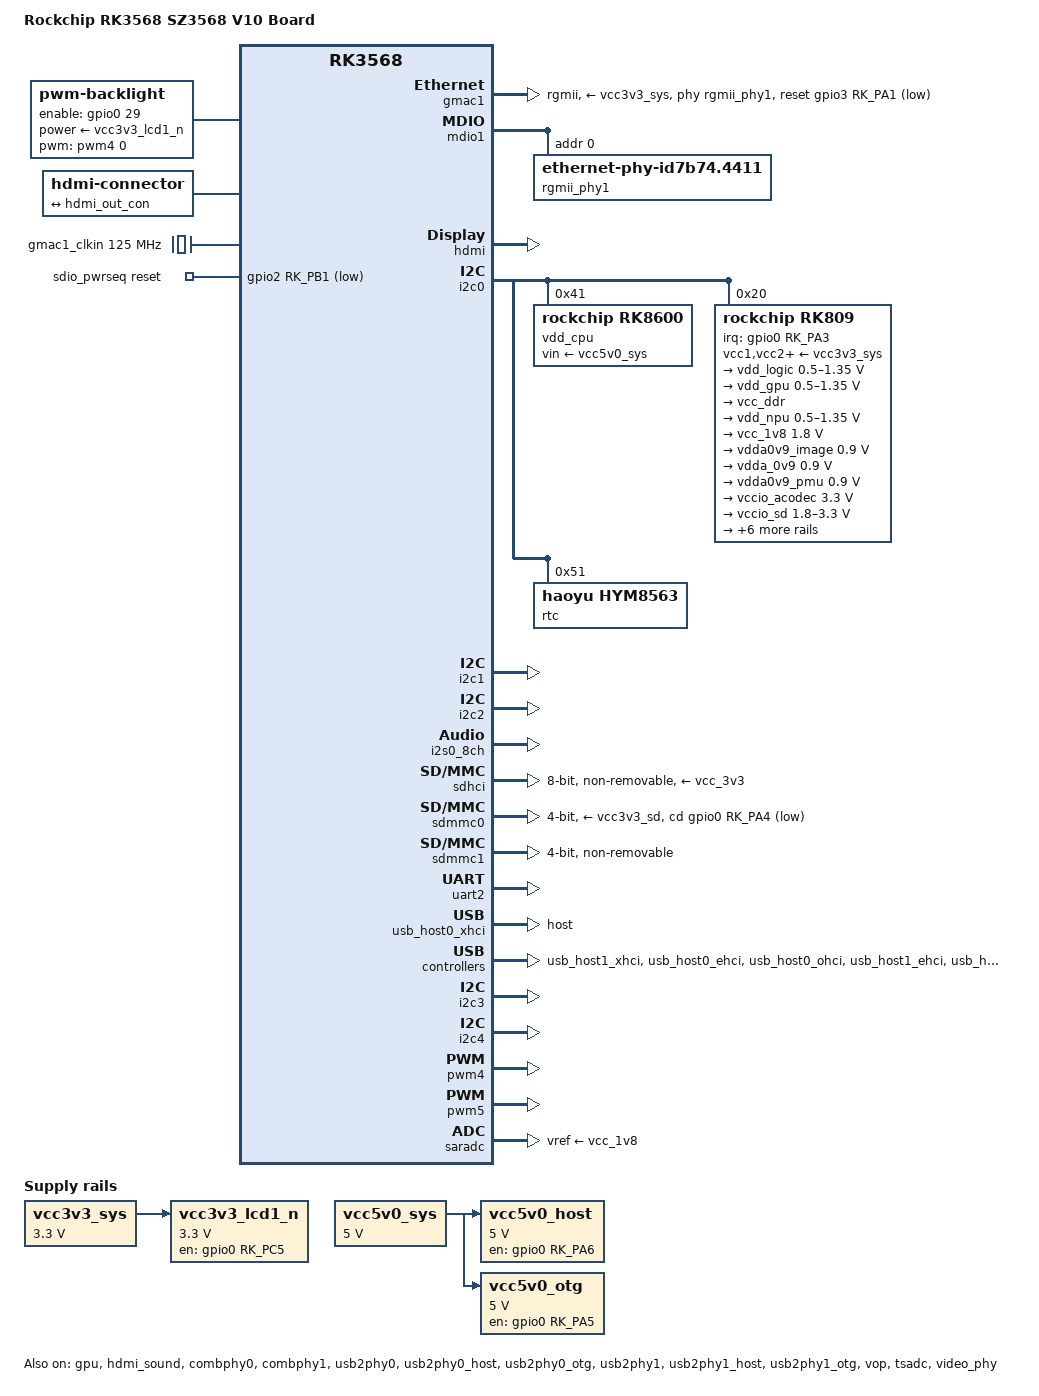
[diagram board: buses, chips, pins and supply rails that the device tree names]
// SPDX-License-Identifier: (GPL-2.0+ OR MIT)
/*
 * SZ3568 V1.2 Board - Clean Mainline DTS
 *
 * Based on mainline rk3568-rock-3a.dts patterns
 * No vendor BSP extensions - pure mainline compatible
 */

/dts-v1/;

#include <dt-bindings/gpio/gpio.h>
#include <dt-bindings/pinctrl/rockchip.h>
#include <dt-bindings/soc/rockchip,vop2.h>
#include "rk3568.dtsi"

/ {
	model = "Rockchip RK3568 SZ3568 V10 Board";
	compatible = "rockchip,rk3568-sz3568", "rockchip,rk3568";

	aliases {
		ethernet0 = &gmac1;
		lvds0 = &lvds;
		mmc0 = &sdhci;
		mmc1 = &sdmmc0;
		mmc2 = &sdmmc1;
		serial2 = &uart2;
	};

	chosen {
		stdout-path = "serial2:1500000n8";
	};

	/* Backlight for LVDS panel via PWM4 */
	backlight: backlight {
		compatible = "pwm-backlight";
		pwms = <&pwm4 0 25000 0>;
		brightness-levels = <0 64 128 192 255>;
		default-brightness-level = <3>;
		enable-gpios = <&gpio0 29 GPIO_ACTIVE_HIGH>;
		power-supply = <&vcc3v3_lcd1_n>;
		status = "okay";
	};

	/* Native LVDS panel - 1024x600 @ 60Hz */
	panel_lvds: panel-lvds {
		compatible = "panel-lvds";
		backlight = <&backlight>;
		power-supply = <&vcc3v3_lcd1_n>;
		data-mapping = "vesa-24";
		width-mm = <217>;
		height-mm = <136>;
		status = "disabled";  /* Disabled until panel available */

		panel-timing {
			clock-frequency = <66000000>;
			hactive = <1024>;
			vactive = <600>;
			hback-porch = <200>;
			hfront-porch = <110>;
			vback-porch = <20>;
			vfront-porch = <13>;
			hsync-len = <10>;
			vsync-len = <2>;
			hsync-active = <0>;
			vsync-active = <0>;
			de-active = <0>;
			pixelclk-active = <0>;
		};

		port {
			panel_in_lvds: endpoint {
				remote-endpoint = <&lvds_out_panel>;
			};
		};
	};

	/* LCD panel power supply - GPIO0_PC5 (gpio0-21) */
	vcc3v3_lcd1_n: vcc3v3-lcd1-n {
		compatible = "regulator-fixed";
		regulator-name = "vcc3v3_lcd1_n";
		regulator-boot-on;
		regulator-min-microvolt = <3300000>;
		regulator-max-microvolt = <3300000>;
		enable-active-high;
		gpio = <&gpio0 RK_PC5 GPIO_ACTIVE_HIGH>;
		vin-supply = <&vcc3v3_sys>;
		pinctrl-names = "default";
		pinctrl-0 = <&lcd1_pwr_en>;
	};

	/* TC358775 bridge 1.2V power - GPIO0_PB0 (gpio0-8) */
	/* Disabled - using native LVDS instead of DSI->bridge */
	vcc1v2_tc358775: vcc-tc358775-regulator {
		compatible = "regulator-fixed";
		regulator-name = "vcc_tc358775";
		enable-active-high;
		gpio = <&gpio0 RK_PB0 GPIO_ACTIVE_HIGH>;
		pinctrl-names = "default";
		pinctrl-0 = <&tc358775_pwr>;
		status = "disabled";
	};

	/*
	 * RK3568 Video PHY for LVDS output
	 * Innosilicon PHY that supports LVDS and TTL modes
	 * Note: Shares PHY hardware with DSI DPHY0
	 */
	video_phy: video-phy@fe850000 {
		compatible = "rockchip,rk3568-video-phy";
		reg = <0x0 0xfe850000 0x0 0x10000>;
		clocks = <&cru PCLK_DSITX_0>;
		clock-names = "pclk";
		resets = <&cru SRST_P_DSITX_0>;
		reset-names = "rst";
		#phy-cells = <0>;
		status = "okay";
	};

	/*
	 * RK3568 Native LVDS controller
	 * Uses Video PHY in LVDS mode, configured via GRF registers
	 * Note: This is not in mainline rk3568.dtsi - added via local patch
	 */
	lvds: lvds {
		compatible = "rockchip,rk3568-lvds";
		rockchip,grf = <&grf>;
		phys = <&video_phy>;
		phy-names = "dphy";
		status = "disabled";  /* Disabled until panel available - causes HDMI probe issues */

		ports {
			#address-cells = <1>;
			#size-cells = <0>;

			/* Input from VOP VP1 */
			port@0 {
				reg = <0>;

				lvds_in_vp1: endpoint {
					remote-endpoint = <&vp1_out_lvds>;
				};
			};

			/* Output to panel */
			port@1 {
				reg = <1>;

				lvds_out_panel: endpoint {
					remote-endpoint = <&panel_in_lvds>;
				};
			};
		};
	};

	/* HDMI connector */
	hdmi-con {
		compatible = "hdmi-connector";
		type = "a";

		port {
			hdmi_con_in: endpoint {
				remote-endpoint = <&hdmi_out_con>;
			};
		};
	};

	/* External 125MHz clock for GMAC1 */
	gmac1_clkin: external-gmac1-clock {
		compatible = "fixed-clock";
		clock-frequency = <125000000>;
		clock-output-names = "gmac1_clkin";
		#clock-cells = <0>;
	};

	/* Main 3.3V supply */
	vcc3v3_sys: vcc3v3-sys-regulator {
		compatible = "regulator-fixed";
		regulator-name = "vcc3v3_sys";
		regulator-always-on;
		regulator-boot-on;
		regulator-min-microvolt = <3300000>;
		regulator-max-microvolt = <3300000>;
	};

	/* 5V supply */
	vcc5v0_sys: vcc5v0-sys-regulator {
		compatible = "regulator-fixed";
		regulator-name = "vcc5v0_sys";
		regulator-always-on;
		regulator-boot-on;
		regulator-min-microvolt = <5000000>;
		regulator-max-microvolt = <5000000>;
	};

	/* USB Host port power - controlled by GPIO0_A6 */
	vcc5v0_host: vcc5v0-host-regulator {
		compatible = "regulator-fixed";
		regulator-name = "vcc5v0_host";
		regulator-boot-on;
		regulator-always-on;
		regulator-min-microvolt = <5000000>;
		regulator-max-microvolt = <5000000>;
		enable-active-high;
		gpio = <&gpio0 RK_PA6 GPIO_ACTIVE_HIGH>;
		vin-supply = <&vcc5v0_sys>;
		pinctrl-names = "default";
		pinctrl-0 = <&vcc5v0_host_en>;
	};

	/* USB OTG port power - controlled by GPIO0_A5 */
	/* Enable always-on so OTG port works as host like vendor kernel */
	vcc5v0_otg: vcc5v0-otg-regulator {
		compatible = "regulator-fixed";
		regulator-name = "vcc5v0_otg";
		regulator-boot-on;
		regulator-always-on;
		regulator-min-microvolt = <5000000>;
		regulator-max-microvolt = <5000000>;
		enable-active-high;
		gpio = <&gpio0 RK_PA5 GPIO_ACTIVE_HIGH>;
		vin-supply = <&vcc5v0_sys>;
		pinctrl-names = "default";
		pinctrl-0 = <&vcc5v0_otg_en>;
	};

	/* WiFi SDIO power sequence - GPIO2_B1 controls chip reset */
	sdio_pwrseq: sdio-pwrseq {
		compatible = "mmc-pwrseq-simple";
		pinctrl-names = "default";
		pinctrl-0 = <&wifi_enable_h>;
		reset-gpios = <&gpio2 RK_PB1 GPIO_ACTIVE_LOW>;
		post-power-on-delay-ms = <200>;
	};

};

/* CPU power supply */
&cpu0 {
	cpu-supply = <&vdd_cpu>;
};

&cpu1 {
	cpu-supply = <&vdd_cpu>;
};

&cpu2 {
	cpu-supply = <&vdd_cpu>;
};

&cpu3 {
	cpu-supply = <&vdd_cpu>;
};

/* GPU - Panfrost driver */
&gpu {
	mali-supply = <&vdd_gpu>;
	status = "okay";
};

/* GMAC1 - Ethernet with MAXIO PHY */
&gmac1 {
	assigned-clocks = <&cru SCLK_GMAC1_RX_TX>, <&cru SCLK_GMAC1>;
	assigned-clock-parents = <&cru SCLK_GMAC1_RGMII_SPEED>, <&gmac1_clkin>;
	clock_in_out = "input";
	phy-handle = <&rgmii_phy1>;
	phy-mode = "rgmii";
	phy-supply = <&vcc3v3_sys>;
	pinctrl-names = "default";
	pinctrl-0 = <&gmac1m0_miim
		     &gmac1m0_tx_bus2
		     &gmac1m0_rx_bus2
		     &gmac1m0_rgmii_clk
		     &gmac1m0_rgmii_bus
		     &gmac1m0_clkinout>;
	snps,reset-gpio = <&gpio3 RK_PA1 GPIO_ACTIVE_LOW>;
	snps,reset-active-low;
	snps,reset-delays-us = <0 20000 100000>;
	tx_delay = <0x4f>;
	rx_delay = <0x10>;
	status = "okay";
};

&mdio1 {
	rgmii_phy1: ethernet-phy@0 {
		compatible = "ethernet-phy-id7b74.4411", "ethernet-phy-ieee802.3-c22";
		reg = <0x0>;
	};
};

/* HDMI */
&hdmi {
	avdd-0v9-supply = <&vdda0v9_image>;
	avdd-1v8-supply = <&vcca1v8_image>;
	pinctrl-names = "default";
	pinctrl-0 = <&hdmitx_scl &hdmitx_sda &hdmitxm1_cec>;
	/* DDC I2C timing for ~50kHz bus speed (matches Rockchip BSP defaults) */
	ddc-i2c-scl-high-time-ns = <9625>;
	ddc-i2c-scl-low-time-ns = <10000>;
	status = "okay";
};

&hdmi_in {
	hdmi_in_vp0: endpoint {
		remote-endpoint = <&vp0_out_hdmi>;
	};
};

&hdmi_out {
	hdmi_out_con: endpoint {
		remote-endpoint = <&hdmi_con_in>;
	};
};

&hdmi_sound {
	status = "okay";
};

/* I2C0 - PMIC */
&i2c0 {
	status = "okay";

	/* CPU voltage regulator - RK8600 at I2C address 0x41 */
	vdd_cpu: regulator@41 {
		compatible = "rockchip,rk8600";
		reg = <0x41>;
		regulator-name = "vdd_cpu";
		regulator-always-on;
		regulator-boot-on;
		regulator-min-microvolt = <712500>;
		regulator-max-microvolt = <1390000>;
		regulator-ramp-delay = <2300>;
		vin-supply = <&vcc5v0_sys>;
		rockchip,suspend-voltage-selector = <1>;

		regulator-state-mem {
			regulator-off-in-suspend;
		};
	};

	rk809: pmic@20 {
		compatible = "rockchip,rk809";
		reg = <0x20>;
		interrupt-parent = <&gpio0>;
		interrupts = <RK_PA3 IRQ_TYPE_LEVEL_LOW>;
		#clock-cells = <1>;
		pinctrl-names = "default";
		pinctrl-0 = <&pmic_int>;
		rockchip,system-power-controller;
		wakeup-source;

		vcc1-supply = <&vcc3v3_sys>;
		vcc2-supply = <&vcc3v3_sys>;
		vcc3-supply = <&vcc3v3_sys>;
		vcc4-supply = <&vcc3v3_sys>;
		vcc5-supply = <&vcc3v3_sys>;
		vcc6-supply = <&vcc3v3_sys>;
		vcc7-supply = <&vcc3v3_sys>;
		vcc8-supply = <&vcc3v3_sys>;
		vcc9-supply = <&vcc3v3_sys>;

		regulators {
			vdd_logic: DCDC_REG1 {
				regulator-name = "vdd_logic";
				regulator-always-on;
				regulator-boot-on;
				regulator-init-microvolt = <900000>;
				regulator-min-microvolt = <500000>;
				regulator-max-microvolt = <1350000>;
				regulator-ramp-delay = <6001>;

				regulator-state-mem {
					regulator-off-in-suspend;
				};
			};

			vdd_gpu: DCDC_REG2 {
				regulator-name = "vdd_gpu";
				regulator-always-on;
				regulator-init-microvolt = <900000>;
				regulator-min-microvolt = <500000>;
				regulator-max-microvolt = <1350000>;
				regulator-ramp-delay = <6001>;

				regulator-state-mem {
					regulator-off-in-suspend;
				};
			};

			vcc_ddr: DCDC_REG3 {
				regulator-name = "vcc_ddr";
				regulator-always-on;
				regulator-boot-on;

				regulator-state-mem {
					regulator-on-in-suspend;
				};
			};

			vdd_npu: DCDC_REG4 {
				regulator-name = "vdd_npu";
				regulator-init-microvolt = <900000>;
				regulator-min-microvolt = <500000>;
				regulator-max-microvolt = <1350000>;
				regulator-ramp-delay = <6001>;

				regulator-state-mem {
					regulator-off-in-suspend;
				};
			};

			vcc_1v8: DCDC_REG5 {
				regulator-name = "vcc_1v8";
				regulator-always-on;
				regulator-boot-on;
				regulator-min-microvolt = <1800000>;
				regulator-max-microvolt = <1800000>;

				regulator-state-mem {
					regulator-off-in-suspend;
				};
			};

			vdda0v9_image: LDO_REG1 {
				regulator-name = "vdda0v9_image";
				regulator-min-microvolt = <900000>;
				regulator-max-microvolt = <900000>;

				regulator-state-mem {
					regulator-off-in-suspend;
				};
			};

			vdda_0v9: LDO_REG2 {
				regulator-name = "vdda_0v9";
				regulator-always-on;
				regulator-boot-on;
				regulator-min-microvolt = <900000>;
				regulator-max-microvolt = <900000>;

				regulator-state-mem {
					regulator-off-in-suspend;
				};
			};

			vdda0v9_pmu: LDO_REG3 {
				regulator-name = "vdda0v9_pmu";
				regulator-always-on;
				regulator-boot-on;
				regulator-min-microvolt = <900000>;
				regulator-max-microvolt = <900000>;

				regulator-state-mem {
					regulator-on-in-suspend;
					regulator-suspend-microvolt = <900000>;
				};
			};

			vccio_acodec: LDO_REG4 {
				regulator-name = "vccio_acodec";
				regulator-always-on;
				regulator-min-microvolt = <3300000>;
				regulator-max-microvolt = <3300000>;

				regulator-state-mem {
					regulator-off-in-suspend;
				};
			};

			vccio_sd: LDO_REG5 {
				regulator-name = "vccio_sd";
				regulator-min-microvolt = <1800000>;
				regulator-max-microvolt = <3300000>;

				regulator-state-mem {
					regulator-off-in-suspend;
				};
			};

			vcc3v3_pmu: LDO_REG6 {
				regulator-name = "vcc3v3_pmu";
				regulator-always-on;
				regulator-boot-on;
				regulator-min-microvolt = <3300000>;
				regulator-max-microvolt = <3300000>;

				regulator-state-mem {
					regulator-on-in-suspend;
					regulator-suspend-microvolt = <3300000>;
				};
			};

			vcca_1v8: LDO_REG7 {
				regulator-name = "vcca_1v8";
				regulator-always-on;
				regulator-boot-on;
				regulator-min-microvolt = <1800000>;
				regulator-max-microvolt = <1800000>;

				regulator-state-mem {
					regulator-off-in-suspend;
				};
			};

			vcca1v8_pmu: LDO_REG8 {
				regulator-name = "vcca1v8_pmu";
				regulator-always-on;
				regulator-boot-on;
				regulator-min-microvolt = <1800000>;
				regulator-max-microvolt = <1800000>;

				regulator-state-mem {
					regulator-on-in-suspend;
					regulator-suspend-microvolt = <1800000>;
				};
			};

			vcca1v8_image: LDO_REG9 {
				regulator-name = "vcca1v8_image";
				regulator-min-microvolt = <1800000>;
				regulator-max-microvolt = <1800000>;

				regulator-state-mem {
					regulator-off-in-suspend;
				};
			};

			vcc_3v3: SWITCH_REG1 {
				regulator-name = "vcc_3v3";
				regulator-always-on;
				regulator-boot-on;

				regulator-state-mem {
					regulator-off-in-suspend;
				};
			};

			vcc3v3_sd: SWITCH_REG2 {
				regulator-name = "vcc3v3_sd";

				regulator-state-mem {
					regulator-off-in-suspend;
				};
			};
		};
	};

	/* RTC */
	rtc@51 {
		compatible = "haoyu,hym8563";
		reg = <0x51>;
		#clock-cells = <0>;
	};
};

/* I2C1 - Touch panel / Display connector */
&i2c1 {
	status = "okay";
	pinctrl-names = "default";
	pinctrl-0 = <&i2c1_xfer>;
};

/* I2C2 - LVDS bridges (TC358775 + GM8775C) */
&i2c2 {
	status = "okay";
	pinctrl-names = "default";
	pinctrl-0 = <&i2c2m1_xfer>;

	/* Toshiba TC358775 DSI-to-LVDS bridge - has mainline driver */
	/* Disabled - chip not responding on I2C, using native LVDS instead */
	tc358775: bridge@0f {
		compatible = "toshiba,tc358775";
		reg = <0x0f>;
		vdd-supply = <&vcc1v2_tc358775>;
		vddio-supply = <&vcc_1v8>;
		reset-gpios = <&gpio3 RK_PD5 GPIO_ACTIVE_LOW>;
		pinctrl-names = "default";
		pinctrl-0 = <&tc358775_rst>;
		status = "disabled";

		ports {
			#address-cells = <1>;
			#size-cells = <0>;

			port@0 {
				reg = <0>;
				tc358775_dsi_in: endpoint {
					/* Will connect to DSI0 output when enabled */
				};
			};

			port@1 {
				reg = <1>;
				tc358775_lvds_out: endpoint {
					/* Will connect to LVDS panel */
				};
			};
		};
	};

	/* GM8775C MIPI DSI to LVDS bridge - no mainline driver */
	gm8775c: bridge@2c {
		compatible = "gm8775c,mipi_to_lvds";
		reg = <0x2c>;
		status = "disabled";  /* No mainline driver available */
	};
};

/* I2S for HDMI audio */
&i2s0_8ch {
	status = "okay";
};

/* Pinctrl */
&pinctrl {
	pmic {
		pmic_int: pmic-int {
			rockchip,pins = <0 RK_PA3 RK_FUNC_GPIO &pcfg_pull_up>;
		};
	};

	usb {
		vcc5v0_host_en: vcc5v0-host-en {
			rockchip,pins = <0 RK_PA6 RK_FUNC_GPIO &pcfg_pull_none>;
		};

		vcc5v0_otg_en: vcc5v0-otg-en {
			rockchip,pins = <0 RK_PA5 RK_FUNC_GPIO &pcfg_pull_none>;
		};
	};

	/* Display-related GPIO pinctrl */
	lcd {
		lcd1_pwr_en: lcd1-pwr-en {
			rockchip,pins = <0 RK_PC5 RK_FUNC_GPIO &pcfg_pull_none>;
		};

		lcd_rst: lcd-rst {
			rockchip,pins = <0 RK_PA0 RK_FUNC_GPIO &pcfg_pull_none>;
		};
	};

	tc358775 {
		tc358775_pwr: tc358775-pwr {
			rockchip,pins = <0 RK_PB0 RK_FUNC_GPIO &pcfg_pull_none>;
		};

		tc358775_rst: tc358775-rst {
			rockchip,pins = <3 RK_PD5 RK_FUNC_GPIO &pcfg_pull_none>;
		};
	};

	sdio-pwrseq {
		wifi_enable_h: wifi-enable-h {
			rockchip,pins = <2 RK_PB1 RK_FUNC_GPIO &pcfg_pull_none>;
		};
	};
};

/* eMMC */
&sdhci {
	bus-width = <8>;
	max-frequency = <200000000>;
	mmc-hs200-1_8v;
	non-removable;
	pinctrl-names = "default";
	pinctrl-0 = <&emmc_bus8 &emmc_clk &emmc_cmd &emmc_datastrobe>;
	vmmc-supply = <&vcc_3v3>;
	vqmmc-supply = <&vcc_1v8>;
	status = "okay";
};

/* SD card */
&sdmmc0 {
	bus-width = <4>;
	cap-sd-highspeed;
	cd-gpios = <&gpio0 RK_PA4 GPIO_ACTIVE_LOW>;
	disable-wp;
	pinctrl-names = "default";
	pinctrl-0 = <&sdmmc0_bus4 &sdmmc0_clk &sdmmc0_cmd &sdmmc0_det>;
	sd-uhs-sdr50;
	vmmc-supply = <&vcc3v3_sd>;
	vqmmc-supply = <&vccio_sd>;
	status = "okay";
};

/* WiFi (RTL8723DS on SDIO) */
&sdmmc1 {
	max-frequency = <150000000>;
	supports-sdio;
	bus-width = <4>;
	disable-wp;
	cap-sd-highspeed;
	cap-sdio-irq;
	keep-power-in-suspend;
	mmc-pwrseq = <&sdio_pwrseq>;
	non-removable;
	pinctrl-names = "default";
	pinctrl-0 = <&sdmmc1_bus4 &sdmmc1_cmd &sdmmc1_clk>;
	sd-uhs-sdr104;
	status = "okay";
};

/* Debug UART */
&uart2 {
	status = "okay";
};

/* Combo PHY for USB3 */
&combphy0 {
	status = "okay";
};

&combphy1 {
	status = "okay";
};

/* USB 3.0 DRD - force host mode for both USB-A ports */
/* Note: extcon removed to avoid charger detection interfering with hotplug */
&usb_host0_xhci {
	dr_mode = "host";
	status = "okay";
};

&usb_host1_xhci {
	status = "okay";
};

/* USB 2.0 Host */
&usb_host0_ehci {
	status = "okay";
};

&usb_host0_ohci {
	status = "okay";
};

&usb_host1_ehci {
	status = "okay";
};

&usb_host1_ohci {
	status = "okay";
};

&usb2phy0 {
	status = "okay";
};

&usb2phy0_host {
	phy-supply = <&vcc5v0_host>;
	status = "okay";
};

&usb2phy0_otg {
	vbus-supply = <&vcc5v0_otg>;
	status = "okay";
};

&usb2phy1 {
	status = "okay";
};

&usb2phy1_host {
	phy-supply = <&vcc5v0_host>;
	status = "okay";
};

&usb2phy1_otg {
	phy-supply = <&vcc5v0_host>;
	status = "okay";
};

/* Force HPLL to initialize at boot - fixes HDMI NOCLOCK errors */
&pmucru {
	assigned-clocks = <&pmucru PLL_HPLL>;
	assigned-clock-rates = <148500000>;
};

/* VOP2 Display Controller */
&vop {
	assigned-clocks = <&cru DCLK_VOP0>, <&cru DCLK_VOP1>;
	assigned-clock-parents = <&pmucru PLL_HPLL>, <&cru PLL_VPLL>;
	status = "okay";
};

&vop_mmu {
	status = "okay";
};

&vp0 {
	vp0_out_hdmi: endpoint@ROCKCHIP_VOP2_EP_HDMI0 {
		reg = <ROCKCHIP_VOP2_EP_HDMI0>;
		remote-endpoint = <&hdmi_in_vp0>;
	};
};

/* VP1 for LVDS output - native LVDS path */
&vp1 {
	vp1_out_lvds: endpoint@ROCKCHIP_VOP2_EP_LVDS0 {
		reg = <ROCKCHIP_VOP2_EP_LVDS0>;
		remote-endpoint = <&lvds_in_vp1>;
	};
};

/* DSI0 disabled - using native LVDS instead */
&dsi0 {
	status = "disabled";
};

/* Disable mainline DSI PHY - we use video_phy for LVDS instead */
&dsi_dphy0 {
	status = "disabled";
};

/* Additional I2C buses for peripherals */
&i2c3 {
	status = "okay";
};

&i2c4 {
	status = "okay";
};

/* I2C5 disabled - pins conflict with GMAC1 (Ethernet) */
&i2c5 {
	status = "disabled";
};

/* PWM for backlight control */
&pwm4 {
	status = "okay";
};

&pwm5 {
	status = "okay";
};

/* SAR ADC for analog inputs */
&saradc {
	vref-supply = <&vcc_1v8>;
	status = "okay";
};

/* Thermal sensor */
&tsadc {
	rockchip,hw-tshut-mode = <1>;
	rockchip,hw-tshut-polarity = <0>;
	status = "okay";
};
